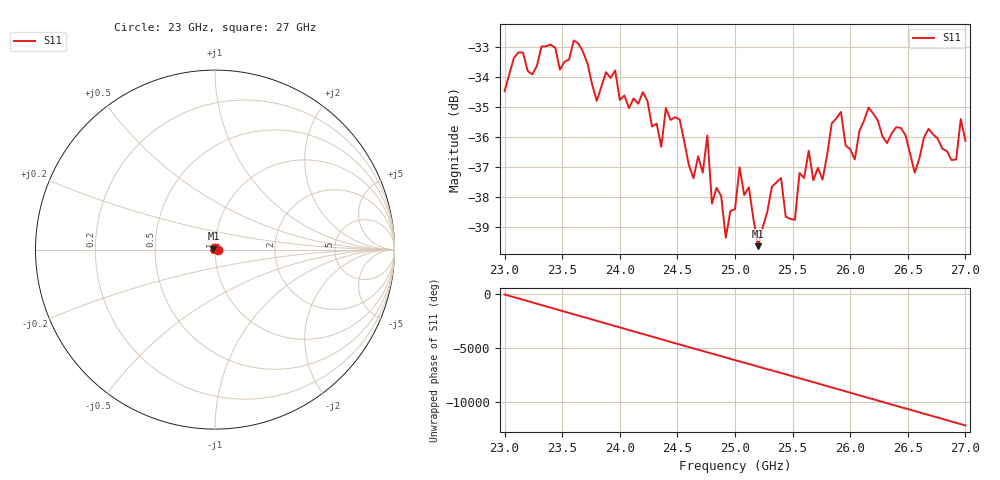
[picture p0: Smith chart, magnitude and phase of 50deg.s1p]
#  HZ  S  RI  R  50.00
! Rohde & Schwarz ZVA40 4Ports - Version 3.90 - 1145.1110k42 SN: 100403
! Date: 2023-09-26 11:00:59
! Measurement: S12
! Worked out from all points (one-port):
!   101 points, 23 GHz to 27 GHz, reference 50 ohm
!   lowest |S11| = -39.6 dB at 25.2 GHz (marker M1), VSWR 1.02, Z = 49.1 + j0.536 ohm
!   |S11| at or under -10 dB: start of sweep to end of sweep
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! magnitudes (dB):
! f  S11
! 23 GHz  -34.5
! 23.12 GHz  -33.2
! 23.52 GHz  -33.5
! 23.64 GHz  -32.9
! 23.8 GHz  -34.8
! 23.96 GHz  -33.8
! 24 GHz  -34.8
! 24.2 GHz  -34.5
! 24.36 GHz  -36.3
! 24.4 GHz  -35.0
! 24.52 GHz  -35.4
! 24.64 GHz  -37.4
! 24.76 GHz  -35.9
! 24.8 GHz  -38.2
! 24.88 GHz  -38.0
! 24.92 GHz  -39.4
! 25 GHz  -38.4
! 25.04 GHz  -37.0
! 25.2 GHz  -39.6
! 25.4 GHz  -37.4
! 25.52 GHz  -38.8
! 25.64 GHz  -36.4
! 25.76 GHz  -37.4
! 25.92 GHz  -35.2
! 26 GHz  -36.4
! 26.16 GHz  -35.0
! 26.52 GHz  -36.5
! 27 GHz  -36.1
